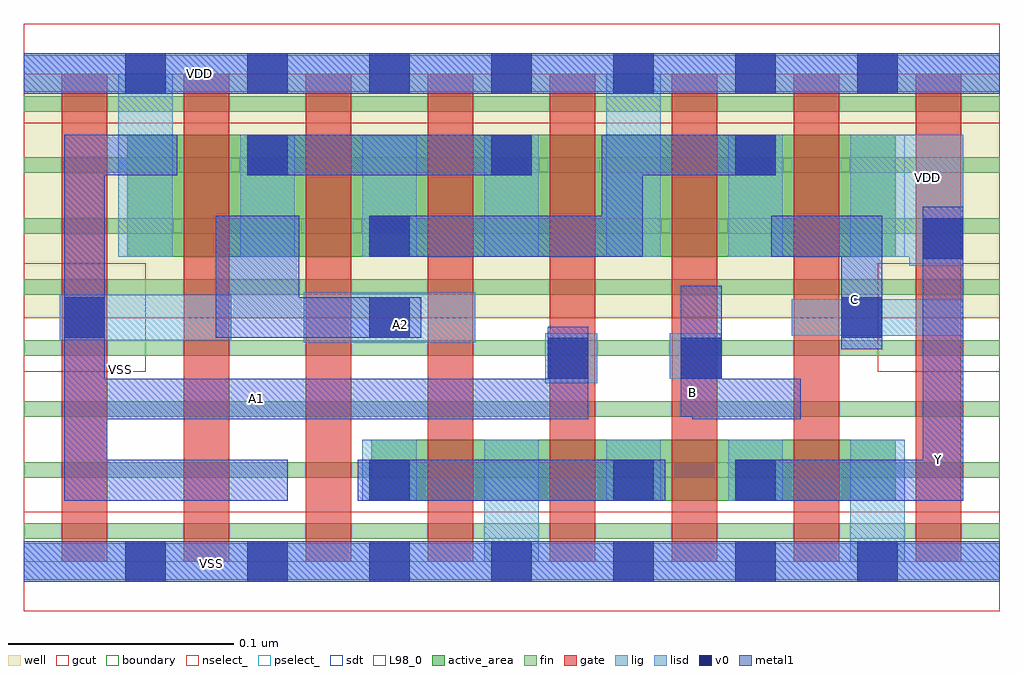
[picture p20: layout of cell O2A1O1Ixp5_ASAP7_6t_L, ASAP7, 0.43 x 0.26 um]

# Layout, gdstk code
import gdstk
lib = gdstk.Library(unit=1e-6, precision=2.5e-10)
def R(c, l, rs):  # rectangles x0, y0, x1, y1
    for r in rs: c.add(gdstk.rectangle(r[:2], r[2:], *l))
def A(c, l, x, y, w, h, nx, ny, dx, dy):  # array of equal rectangles
    R(c, l, [(x+i*dx, y+j*dy, x+i*dx+w, y+j*dy+h) for i in range(nx) for j in range(ny)])
def P(c, l, *ps):  # polygons
    for p in ps: c.add(gdstk.Polygon(p, *l))
well = (1, 0)
fin = (2, 0)
gate = (7, 0)
gcut = (10, 0)
active_area = (11, 0)
nselect_ = (12, 0)
pselect_ = (13, 0)
lig = (16, 0)
lisd = (17, 0)
v0 = (18, 0)
metal1 = (19, 0)
sdt = (88, 0)
L98_0 = (98, 0)
boundary = (100, 0)

o2a1o1ixp5_asap7_6t_l = lib.new_cell('O2A1O1Ixp5_ASAP7_6t_L')
R(o2a1o1ixp5_asap7_6t_l, well, [(0,0.108,0.432,0.216)])
A(o2a1o1ixp5_asap7_6t_l, fin, 0, 0.01, 0.432, 0.007, 1, 8, 0, 0.027)
A(o2a1o1ixp5_asap7_6t_l, gate, 0.017, 0, 0.02, 0.216, 8, 1, 0.054, 0)
R(o2a1o1ixp5_asap7_6t_l, gcut, [(0,-0.022,0.432,0.022), (0,0.084,0.054,0.132), (0.378,0.084,0.432,0.132), (0,0.194,0.432,0.238)])
R(o2a1o1ixp5_asap7_6t_l, active_area, [(0.154,0.027,0.386,0.054), (0.046,0.135,0.386,0.189)])
R(o2a1o1ixp5_asap7_6t_l, nselect_, [(0,0,0.432,0.108)])
R(o2a1o1ixp5_asap7_6t_l, pselect_, [(0,0.108,0.432,0.216)])
R(o2a1o1ixp5_asap7_6t_l, lig, [(0,-0.008,0.432,0.008), (0.231,0.079,0.254,0.101), (0.286,0.081,0.309,0.101), (0.124,0.097,0.2,0.119), (0.016,0.098,0.092,0.118), (0.34,0.1,0.416,0.116), (0,0.208,0.432,0.224)])
A(o2a1o1ixp5_asap7_6t_l, lisd, 0.096, 0.135, 0.024, 0.054, 3, 1, 0.054, 0)
R(o2a1o1ixp5_asap7_6t_l, lisd, [(0.204,0,0.228,0.054), (0.366,0,0.39,0.054), (0.15,0.027,0.174,0.054), (0.258,0.027,0.282,0.054), (0.312,0.027,0.336,0.054), (0.042,0.135,0.066,0.216), (0.258,0.135,0.282,0.216), (0.312,0.135,0.336,0.189)])
P(o2a1o1ixp5_asap7_6t_l, lisd, [(0.416,0.189),(0.366,0.189),(0.366,0.135),(0.392,0.135),(0.392,0.131),(0.416,0.131)])
A(o2a1o1ixp5_asap7_6t_l, v0, 0.045, -0.009, 0.018, 0.018, 7, 2, 0.054, 0.216)
A(o2a1o1ixp5_asap7_6t_l, v0, 0.099, 0.171, 0.018, 0.018, 3, 1, 0.108, 0)
R(o2a1o1ixp5_asap7_6t_l, v0, [(0.153,0.027,0.171,0.045), (0.261,0.027,0.279,0.045), (0.315,0.027,0.333,0.045), (0.232,0.081,0.25,0.099), (0.291,0.081,0.309,0.099), (0.018,0.099,0.036,0.117), (0.153,0.099,0.171,0.117), (0.362,0.099,0.38,0.117), (0.398,0.134,0.416,0.152), (0.153,0.135,0.171,0.153)])
R(o2a1o1ixp5_asap7_6t_l, metal1, [(0,-0.009,0.432,0.009), (0.018,0.027,0.117,0.045), (0.148,0.027,0.284,0.045), (0.099,0.171,0.225,0.189), (0,0.207,0.432,0.225)])
P(o2a1o1ixp5_asap7_6t_l, metal1, [(0.344,0.081),(0.309,0.081),(0.309,0.122),(0.291,0.122),(0.291,0.064),(0.296,0.064),(0.296,0.063),(0.344,0.063)],
  [(0.416,0.027),(0.315,0.027),(0.315,0.045),(0.398,0.045),(0.398,0.157),(0.416,0.157)],
  [(0.38,0.153),(0.331,0.153),(0.331,0.135),(0.362,0.135),(0.362,0.094),(0.38,0.094)],
  [(0.333,0.171),(0.274,0.171),(0.274,0.135),(0.153,0.135),(0.153,0.153),(0.256,0.153),(0.256,0.189),(0.333,0.189)],
  [(0.25,0.063),(0.037,0.063),(0.037,0.027),(0.018,0.027),(0.018,0.189),(0.068,0.189),(0.068,0.171),(0.036,0.171),(0.036,0.081),(0.232,0.081),(0.232,0.104),(0.25,0.104)],
  [(0.176,0.099),(0.085,0.099),(0.085,0.153),(0.122,0.153),(0.122,0.117),(0.176,0.117)])
A(o2a1o1ixp5_asap7_6t_l, sdt, 0.15, 0.027, 0.024, 0.027, 5, 1, 0.054, 0)
A(o2a1o1ixp5_asap7_6t_l, sdt, 0.042, 0.135, 0.024, 0.054, 7, 1, 0.054, 0)
R(o2a1o1ixp5_asap7_6t_l, L98_0, [(0,0,0.432,0.216)])
R(o2a1o1ixp5_asap7_6t_l, boundary, [(0,0,0.432,0.216)])
o2a1o1ixp5_asap7_6t_l.add(gdstk.Label('VSS', (0.043,0.085), layer=3, texttype=251))
o2a1o1ixp5_asap7_6t_l.add(gdstk.Label('VDD', (0.078,0.216), layer=19, texttype=251))
o2a1o1ixp5_asap7_6t_l.add(gdstk.Label('VSS', (0.083,-0.001), layer=19, texttype=251))
o2a1o1ixp5_asap7_6t_l.add(gdstk.Label('Y', (0.405,0.045), layer=19, texttype=251))
o2a1o1ixp5_asap7_6t_l.add(gdstk.Label('C', (0.368,0.116), layer=19, texttype=251))
o2a1o1ixp5_asap7_6t_l.add(gdstk.Label('B', (0.296,0.075), layer=19, texttype=251))
o2a1o1ixp5_asap7_6t_l.add(gdstk.Label('A2', (0.167,0.105), layer=19, texttype=251))
o2a1o1ixp5_asap7_6t_l.add(gdstk.Label('A1', (0.103,0.072), layer=19, texttype=251))
o2a1o1ixp5_asap7_6t_l.add(gdstk.Label('VDD', (0.4,0.17), layer=1, texttype=251))

lib.write_gds('O2A1O1Ixp5_ASAP7_6t_L.gds')
